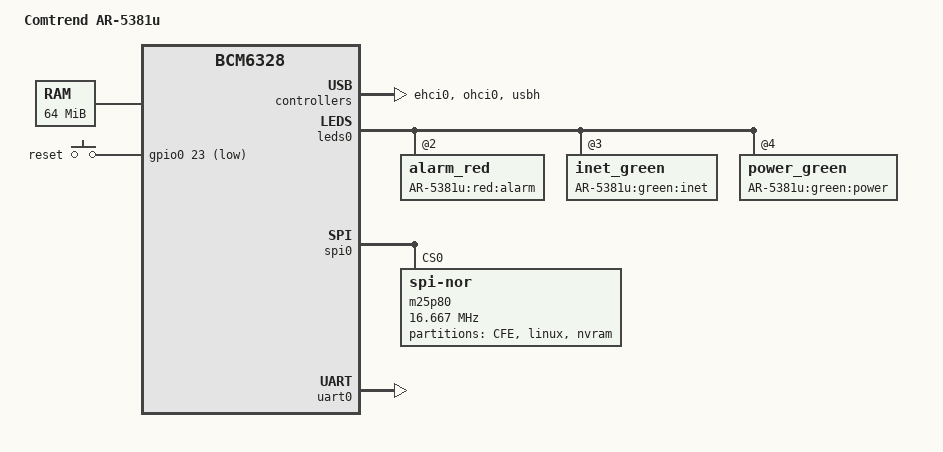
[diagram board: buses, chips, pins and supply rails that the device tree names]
/dts-v1/;

#include "bcm6328.dtsi"

/ {
	compatible = "comtrend,ar-5381u", "brcm,bcm6328";
	model = "Comtrend AR-5381u";

	memory@0 {
		device_type = "memory";
		reg = <0x00000000 0x04000000>;
	};

	chosen {
		bootargs = "earlycon";
		stdout-path = "uart0:115200";
	};

	gpio-keys-polled {
		compatible = "gpio-keys-polled";
		#address-cells = <1>;
		#size-cells = <0>;
		poll-interval = <20>;
		debounce-interval = <60>;

		reset {
			label = "reset";
			gpios = <&gpio0 23 GPIO_ACTIVE_LOW>;
			linux,code = <KEY_RESTART>;
		};
	};
};

&ehci0 {
	status = "ok";
};

&leds0 {
	status = "ok";

	alarm_red@2 {
		reg = <2>;
		active-low;
		label = "AR-5381u:red:alarm";
	};
	inet_green@3 {
		reg = <3>;
		active-low;
		label = "AR-5381u:green:inet";
	};
	power_green@4 {
		reg = <4>;
		active-low;
		label = "AR-5381u:green:power";
		default-state = "on";
	};
};

&ohci0 {
	status = "ok";
};

&spi0 {
	status = "okay";

	m25p80@0 {
		#address-cells = <1>;
		#size-cells = <1>;
		compatible = "jedec,spi-nor";
		reg = <0>;
		spi-max-frequency = <16666667>;

		partitions {
			cfe@0 {
				label = "CFE";
				reg = <0x000000 0x010000>;
				read-only;
			};
			linux@10000 {
				label = "linux";
				reg = <0x010000 0xfe0000>;
				read-only;
			};
			nvram@ff0000 {
				label = "nvram";
				reg = <0xff0000 0x010000>;
				read-only;
			};
		};
	};
};

&uart0 {
	status = "ok";
};

&usbh {
	status = "ok";
};
